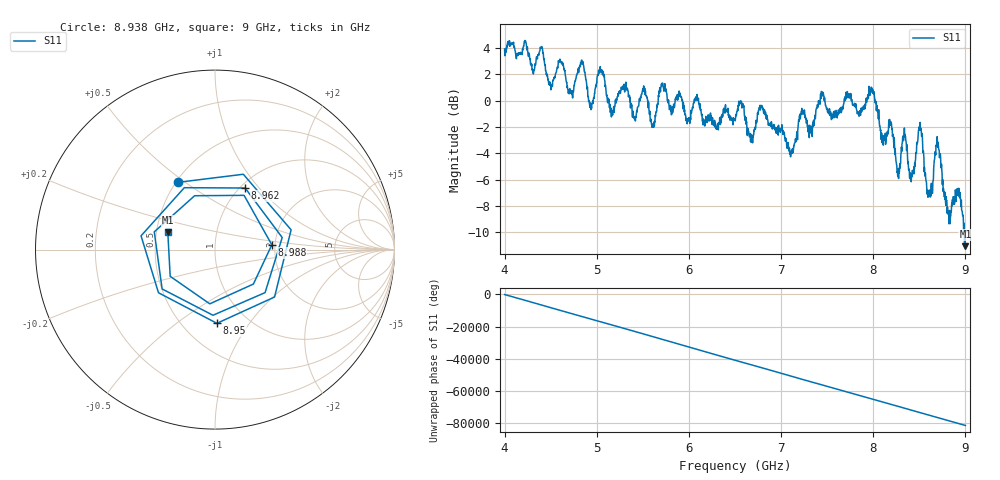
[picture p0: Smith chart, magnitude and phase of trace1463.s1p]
! Created with skrf 1.8.0 (http://scikit-rf.org).
# Hz S RI R 50.0
!freq ReS11 ImS11
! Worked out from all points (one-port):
!   1601 points, 4 GHz to 9 GHz, reference 50 ohm
!   lowest |S11| = -11.0 dB at 9 GHz (marker M1), VSWR 1.78, Z = 28.7 + j6.07 ohm
!   |S11| at or under -10 dB: 8.98814 GHz to end of sweep
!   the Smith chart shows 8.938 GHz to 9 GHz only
!   S11 on the Smith chart (normalised r, x): 8.938 GHz: 0.51, +0.47; 8.95 GHz: 0.72, -0.72; 8.962 GHz: 1.05, +0.85; 8.988 GHz: 1.92, +0.11; 9 GHz: 0.57, +0.12
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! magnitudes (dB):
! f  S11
! 4 GHz  3.9
! 4.625 GHz  2.9
! 4.716 GHz  0.6
! 4.841 GHz  3.0
! 4.934 GHz  -0.6
! 5.034 GHz  2.4
! 5.162 GHz  -0.8
! 5.25 GHz  0.7
! 5.606 GHz  -1.8
! 5.7 GHz  1.2
! 5.875 GHz  0.5
! 6.5 GHz  -1.4
! 7.125 GHz  -3.6
! 7.231 GHz  -1.0
! 7.75 GHz  0.2
! 7.991 GHz  0.6
! 8.269 GHz  -5.2
! 8.375 GHz  -4.8
! 8.422 GHz  -5.8
! 8.509 GHz  -1.7
! 8.6 GHz  -7.1
! 8.697 GHz  -3.3
! 8.822 GHz  -9.3
! 8.938 GHz  -7.4
! 8.95 GHz  -7.7
! 8.962 GHz  -8.4
! 8.988 GHz  -10.0
! 9 GHz  -11.0
